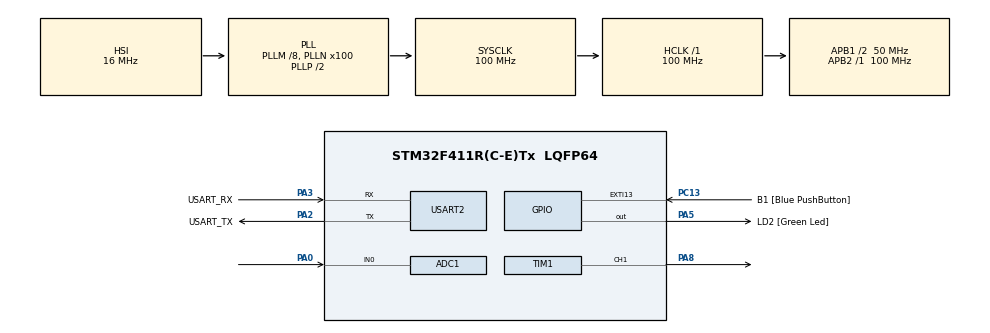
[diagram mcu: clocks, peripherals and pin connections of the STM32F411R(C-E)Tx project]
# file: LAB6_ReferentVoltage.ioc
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ADC1.Channel-0\#ChannelRegularConversion=ADC_CHANNEL_0
ADC1.ExternalTrigConv=ADC_EXTERNALTRIGCONV_T3_TRGO
ADC1.NbrOfConversionFlag=1
ADC1.Rank-0\#ChannelRegularConversion=1
ADC1.SamplingTime-0\#ChannelRegularConversion=ADC_SAMPLETIME_480CYCLES
ADC1.master=1
Mcu.Family=STM32F4
Mcu.Name=STM32F411R(C-E)Tx
Mcu.Package=LQFP64
NVIC.ADC_IRQn=true\:0\:0\:false\:false\:true\:true\:true
NVIC.PriorityGroup=NVIC_PRIORITYGROUP_0
NVIC.TIM1_TRG_COM_TIM11_IRQn=true\:0\:0\:false\:false\:true\:true\:true
PA0-WKUP.Signal=ADCx_IN0
PA13.GPIO_Label=TMS
PA13.Mode=Serial_Wire
PA13.Signal=SYS_JTMS-SWDIO
PA14.GPIO_Label=TCK
PA14.Mode=Serial_Wire
PA14.Signal=SYS_JTCK-SWCLK
PA2.GPIO_Label=USART_TX
PA2.Mode=Asynchronous
PA2.Signal=USART2_TX
PA3.GPIO_Label=USART_RX
PA3.Mode=Asynchronous
PA3.Signal=USART2_RX
PA5.GPIO_Label=LD2 [Green Led]
PA5.Signal=GPIO_Output
PA8.Signal=S_TIM1_CH1
PB3.GPIO_Label=SWO
PB3.Signal=SYS_JTDO-SWO
PC13-ANTI_TAMP.GPIO_Label=B1 [Blue PushButton]
PC13-ANTI_TAMP.GPIO_ModeDefaultEXTI=GPIO_MODE_IT_FALLING
PC13-ANTI_TAMP.Signal=GPXTI13
PC14-OSC32_IN.Mode=LSE-External-Oscillator
PC14-OSC32_IN.Signal=RCC_OSC32_IN
PC15-OSC32_OUT.Mode=LSE-External-Oscillator
PC15-OSC32_OUT.Signal=RCC_OSC32_OUT
PH0\ -\ OSC_IN.Mode=HSE-External-Clock-Source
PH0\ -\ OSC_IN.Signal=RCC_OSC_IN
PH1\ -\ OSC_OUT.Mode=HSE-External-Clock-Source
PH1\ -\ OSC_OUT.Signal=RCC_OSC_OUT
ProjectManager.HeapSize=0x200
ProjectManager.StackSize=0x400
ProjectManager.TargetToolchain=STM32CubeIDE
RCC.48MHZClocksFreq_Value=50000000
RCC.AHBFreq_Value=100000000
RCC.APB1CLKDivider=RCC_HCLK_DIV2
RCC.APB1Freq_Value=50000000
RCC.APB1TimFreq_Value=100000000
RCC.APB2Freq_Value=100000000
RCC.APB2TimFreq_Value=100000000
RCC.CortexFreq_Value=100000000
RCC.FLatency-AdvancedSettings=FLASH_LATENCY_3
RCC.HCLKFreq_Value=100000000
RCC.HSE_VALUE=8000000
RCC.HSI_VALUE=16000000
RCC.PLLM=8
RCC.PLLN=100
RCC.SYSCLKFreq_VALUE=100000000
RCC.SYSCLKSource=RCC_SYSCLKSOURCE_PLLCLK
RCC.VCOOutputFreq_Value=200000000
SH.ADCx_IN0.0=ADC1_IN0,IN0
SH.S_TIM1_CH1.0=TIM1_CH1,PWM Generation1 CH1
TIM1.Channel-PWM\ Generation1\ CH1=TIM_CHANNEL_1
TIM1.Period=10000
TIM1.Pulse-PWM\ Generation1\ CH1=0
TIM11.Prescaler=99
TIM3.Period=1000
TIM3.Prescaler=99
TIM3.TIM_MasterOutputTrigger=TIM_TRGO_UPDATE
USART2.VirtualMode=VM_ASYNC
VP_TIM11_VS_ClockSourceINT.Mode=Enable_Timer
VP_TIM1_VS_ClockSourceINT.Mode=Internal
VP_TIM3_VS_ClockSourceINT.Mode=Internal
board=NUCLEO-F411RE

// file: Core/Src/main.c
/* USER CODE BEGIN Header */
/**
 ******************************************************************************
 * @file           : main.c
 * @brief          : Main program body
 ******************************************************************************
 * @attention
 *
 * <h2><center>&copy; Copyright (c) 2021 STMicroelectronics.
 * All rights reserved.</center></h2>
 *
 * This software component is licensed by ST under BSD 3-Clause license,
 * the "License"; You may not use this file except in compliance with the
 * License. You may obtain a copy of the License at:
 *                        opensource.org/licenses/BSD-3-Clause
 *
 ******************************************************************************
 */
/* USER CODE END Header */
#include "main.h"

ADC_HandleTypeDef hadc1;

TIM_HandleTypeDef htim1;
TIM_HandleTypeDef htim3;
TIM_HandleTypeDef htim11;

UART_HandleTypeDef huart2;

/* USER CODE BEGIN PV */

uint8_t ADCUpdateFlag = 0;
//Store ADC Value
float ADCFeedBack = 0;
//uint16_t ADCFeedBack = 0;

uint16_t PWMOut = 3000;

uint64_t _micro = 0;
uint64_t TimeOutputLoop = 0;

//For Control
//int voltageControl = 0;
//int summationError = 0;
//int previousError = 0;
//float referentVoltage = 40960/33 ;// (4096/3300)1000 for 1000 mV in ADC.read() unit
float referentVoltage = 4095/3.3; //1Voltage
float voltageControl,summationError,previousError = 0; // u,s,p
float P=1,I=0,D=0;

/* USER CODE END PV */

void SystemClock_Config(void);
static void MX_GPIO_Init(void);
static void MX_USART2_UART_Init(void);
static void MX_ADC1_Init(void);
static void MX_TIM1_Init(void);
static void MX_TIM3_Init(void);
static void MX_TIM11_Init(void);
/* USER CODE BEGIN PFP */
uint64_t micros();
/* USER CODE END PFP */

int main(void)
{

  /* MCU Configuration--------------------------------------------------------*/

  /* Reset of all peripherals, Initializes the Flash interface and the Systick. */
  HAL_Init();

  /* Configure the system clock */
  SystemClock_Config();

  /* Initialize all configured peripherals */
  MX_GPIO_Init();
  MX_USART2_UART_Init();
  MX_ADC1_Init();
  MX_TIM1_Init();
  MX_TIM3_Init();
  MX_TIM11_Init();
  /* USER CODE BEGIN 2 */
	//ADC START
	HAL_ADC_Start_IT(&hadc1);
	HAL_TIM_Base_Start(&htim3);
	// start pwm
	HAL_TIM_Base_Start(&htim1);
	HAL_TIM_PWM_Start(&htim1, TIM_CHANNEL_1);
	// start micros
	HAL_TIM_Base_Start_IT(&htim11);

  /* USER CODE END 2 */

  /* Infinite loop */
	while (1)
	{

    /* USER CODE BEGIN 3 */

		//1 Khz Loop
		if (micros() - TimeOutputLoop >= 1000)//uS
		{
			TimeOutputLoop = micros();
			control_interrupt();
			// #001
			__HAL_TIM_SET_COMPARE(&htim1, TIM_CHANNEL_1, PWMOut);

		}

		if (ADCUpdateFlag)
		{
			ADCUpdateFlag = 0;
			//#002
		}

	}
  /* USER CODE END 3 */
}

void SystemClock_Config(void)
{
  RCC_OscInitTypeDef RCC_OscInitStruct = {0};
  RCC_ClkInitTypeDef RCC_ClkInitStruct = {0};

  /** Configure the main internal regulator output voltage
  */
  __HAL_RCC_PWR_CLK_ENABLE();
  __HAL_PWR_VOLTAGESCALING_CONFIG(PWR_REGULATOR_VOLTAGE_SCALE1);
  /** Initializes the RCC Oscillators according to the specified parameters
  * in the RCC_OscInitTypeDef structure.
  */
  RCC_OscInitStruct.OscillatorType = RCC_OSCILLATORTYPE_HSI;
  RCC_OscInitStruct.HSIState = RCC_HSI_ON;
  RCC_OscInitStruct.HSICalibrationValue = RCC_HSICALIBRATION_DEFAULT;
  RCC_OscInitStruct.PLL.PLLState = RCC_PLL_ON;
  RCC_OscInitStruct.PLL.PLLSource = RCC_PLLSOURCE_HSI;
  RCC_OscInitStruct.PLL.PLLM = 8;
  RCC_OscInitStruct.PLL.PLLN = 100;
  RCC_OscInitStruct.PLL.PLLP = RCC_PLLP_DIV2;
  RCC_OscInitStruct.PLL.PLLQ = 4;
  if (HAL_RCC_OscConfig(&RCC_OscInitStruct) != HAL_OK)
  {
    Error_Handler();
  }
  /** Initializes the CPU, AHB and APB buses clocks
  */
  RCC_ClkInitStruct.ClockType = RCC_CLOCKTYPE_HCLK|RCC_CLOCKTYPE_SYSCLK
                              |RCC_CLOCKTYPE_PCLK1|RCC_CLOCKTYPE_PCLK2;
  RCC_ClkInitStruct.SYSCLKSource = RCC_SYSCLKSOURCE_PLLCLK;
  RCC_ClkInitStruct.AHBCLKDivider = RCC_SYSCLK_DIV1;
  RCC_ClkInitStruct.APB1CLKDivider = RCC_HCLK_DIV2;
  RCC_ClkInitStruct.APB2CLKDivider = RCC_HCLK_DIV1;

  if (HAL_RCC_ClockConfig(&RCC_ClkInitStruct, FLASH_LATENCY_3) != HAL_OK)
  {
    Error_Handler();
  }
}

static void MX_ADC1_Init(void)
{

  ADC_ChannelConfTypeDef sConfig = {0};

  /** Configure the global features of the ADC (Clock, Resolution, Data Alignment and number of conversion)
  */
  hadc1.Instance = ADC1;
  hadc1.Init.ClockPrescaler = ADC_CLOCK_SYNC_PCLK_DIV4;
  hadc1.Init.Resolution = ADC_RESOLUTION_12B;
  hadc1.Init.ScanConvMode = DISABLE;
  hadc1.Init.ContinuousConvMode = DISABLE;
  hadc1.Init.DiscontinuousConvMode = DISABLE;
  hadc1.Init.ExternalTrigConvEdge = ADC_EXTERNALTRIGCONVEDGE_RISING;
  hadc1.Init.ExternalTrigConv = ADC_EXTERNALTRIGCONV_T3_TRGO;
  hadc1.Init.DataAlign = ADC_DATAALIGN_RIGHT;
  hadc1.Init.NbrOfConversion = 1;
  hadc1.Init.DMAContinuousRequests = DISABLE;
  hadc1.Init.EOCSelection = ADC_EOC_SINGLE_CONV;
  if (HAL_ADC_Init(&hadc1) != HAL_OK)
  {
    Error_Handler();
  }
  /** Configure for the selected ADC regular channel its corresponding rank in the sequencer and its sample time.
  */
  sConfig.Channel = ADC_CHANNEL_0;
  sConfig.Rank = 1;
  sConfig.SamplingTime = ADC_SAMPLETIME_480CYCLES;
  if (HAL_ADC_ConfigChannel(&hadc1, &sConfig) != HAL_OK)
  {
    Error_Handler();
  }

}

static void MX_TIM1_Init(void)
{

  TIM_ClockConfigTypeDef sClockSourceConfig = {0};
  TIM_MasterConfigTypeDef sMasterConfig = {0};
  TIM_OC_InitTypeDef sConfigOC = {0};
  TIM_BreakDeadTimeConfigTypeDef sBreakDeadTimeConfig = {0};

  htim1.Instance = TIM1;
  htim1.Init.Prescaler = 0;
  htim1.Init.CounterMode = TIM_COUNTERMODE_UP;
  htim1.Init.Period = 10000;
  htim1.Init.ClockDivision = TIM_CLOCKDIVISION_DIV1;
  htim1.Init.RepetitionCounter = 0;
  htim1.Init.AutoReloadPreload = TIM_AUTORELOAD_PRELOAD_DISABLE;
  if (HAL_TIM_Base_Init(&htim1) != HAL_OK)
  {
    Error_Handler();
  }
  sClockSourceConfig.ClockSource = TIM_CLOCKSOURCE_INTERNAL;
  if (HAL_TIM_ConfigClockSource(&htim1, &sClockSourceConfig) != HAL_OK)
  {
    Error_Handler();
  }
  if (HAL_TIM_PWM_Init(&htim1) != HAL_OK)
  {
    Error_Handler();
  }
  sMasterConfig.MasterOutputTrigger = TIM_TRGO_RESET;
  sMasterConfig.MasterSlaveMode = TIM_MASTERSLAVEMODE_DISABLE;
  if (HAL_TIMEx_MasterConfigSynchronization(&htim1, &sMasterConfig) != HAL_OK)
  {
    Error_Handler();
  }
  sConfigOC.OCMode = TIM_OCMODE_PWM1;
  sConfigOC.Pulse = 0;
  sConfigOC.OCPolarity = TIM_OCPOLARITY_HIGH;
  sConfigOC.OCNPolarity = TIM_OCNPOLARITY_HIGH;
  sConfigOC.OCFastMode = TIM_OCFAST_DISABLE;
  sConfigOC.OCIdleState = TIM_OCIDLESTATE_RESET;
  sConfigOC.OCNIdleState = TIM_OCNIDLESTATE_RESET;
  if (HAL_TIM_PWM_ConfigChannel(&htim1, &sConfigOC, TIM_CHANNEL_1) != HAL_OK)
  {
    Error_Handler();
  }
  sBreakDeadTimeConfig.OffStateRunMode = TIM_OSSR_DISABLE;
  sBreakDeadTimeConfig.OffStateIDLEMode = TIM_OSSI_DISABLE;
  sBreakDeadTimeConfig.LockLevel = TIM_LOCKLEVEL_OFF;
  sBreakDeadTimeConfig.DeadTime = 0;
  sBreakDeadTimeConfig.BreakState = TIM_BREAK_DISABLE;
  sBreakDeadTimeConfig.BreakPolarity = TIM_BREAKPOLARITY_HIGH;
  sBreakDeadTimeConfig.AutomaticOutput = TIM_AUTOMATICOUTPUT_DISABLE;
  if (HAL_TIMEx_ConfigBreakDeadTime(&htim1, &sBreakDeadTimeConfig) != HAL_OK)
  {
    Error_Handler();
  }
  HAL_TIM_MspPostInit(&htim1);

}

static void MX_TIM3_Init(void)
{

  TIM_ClockConfigTypeDef sClockSourceConfig = {0};
  TIM_MasterConfigTypeDef sMasterConfig = {0};

  htim3.Instance = TIM3;
  htim3.Init.Prescaler = 99;
  htim3.Init.CounterMode = TIM_COUNTERMODE_UP;
  htim3.Init.Period = 1000;
  htim3.Init.ClockDivision = TIM_CLOCKDIVISION_DIV1;
  htim3.Init.AutoReloadPreload = TIM_AUTORELOAD_PRELOAD_DISABLE;
  if (HAL_TIM_Base_Init(&htim3) != HAL_OK)
  {
    Error_Handler();
  }
  sClockSourceConfig.ClockSource = TIM_CLOCKSOURCE_INTERNAL;
  if (HAL_TIM_ConfigClockSource(&htim3, &sClockSourceConfig) != HAL_OK)
  {
    Error_Handler();
  }
  sMasterConfig.MasterOutputTrigger = TIM_TRGO_UPDATE;
  sMasterConfig.MasterSlaveMode = TIM_MASTERSLAVEMODE_DISABLE;
  if (HAL_TIMEx_MasterConfigSynchronization(&htim3, &sMasterConfig) != HAL_OK)
  {
    Error_Handler();
  }

}

static void MX_TIM11_Init(void)
{

  htim11.Instance = TIM11;
  htim11.Init.Prescaler = 99;
  htim11.Init.CounterMode = TIM_COUNTERMODE_UP;
  htim11.Init.Period = 65535;
  htim11.Init.ClockDivision = TIM_CLOCKDIVISION_DIV1;
  htim11.Init.AutoReloadPreload = TIM_AUTORELOAD_PRELOAD_DISABLE;
  if (HAL_TIM_Base_Init(&htim11) != HAL_OK)
  {
    Error_Handler();
  }

}

static void MX_USART2_UART_Init(void)
{

  huart2.Instance = USART2;
  huart2.Init.BaudRate = 115200;
  huart2.Init.WordLength = UART_WORDLENGTH_8B;
  huart2.Init.StopBits = UART_STOPBITS_1;
  huart2.Init.Parity = UART_PARITY_NONE;
  huart2.Init.Mode = UART_MODE_TX_RX;
  huart2.Init.HwFlowCtl = UART_HWCONTROL_NONE;
  huart2.Init.OverSampling = UART_OVERSAMPLING_16;
  if (HAL_UART_Init(&huart2) != HAL_OK)
  {
    Error_Handler();
  }

}

static void MX_GPIO_Init(void)
{
  GPIO_InitTypeDef GPIO_InitStruct = {0};

  /* GPIO Ports Clock Enable */
  __HAL_RCC_GPIOC_CLK_ENABLE();
  __HAL_RCC_GPIOH_CLK_ENABLE();
  __HAL_RCC_GPIOA_CLK_ENABLE();
  __HAL_RCC_GPIOB_CLK_ENABLE();

  /*Configure GPIO pin Output Level */
  HAL_GPIO_WritePin(LD2_GPIO_Port, LD2_Pin, GPIO_PIN_RESET);

  /*Configure GPIO pin : B1_Pin */
  GPIO_InitStruct.Pin = B1_Pin;
  GPIO_InitStruct.Mode = GPIO_MODE_IT_FALLING;
  GPIO_InitStruct.Pull = GPIO_NOPULL;
  HAL_GPIO_Init(B1_GPIO_Port, &GPIO_InitStruct);

  /*Configure GPIO pin : LD2_Pin */
  GPIO_InitStruct.Pin = LD2_Pin;
  GPIO_InitStruct.Mode = GPIO_MODE_OUTPUT_PP;
  GPIO_InitStruct.Pull = GPIO_NOPULL;
  GPIO_InitStruct.Speed = GPIO_SPEED_FREQ_LOW;
  HAL_GPIO_Init(LD2_GPIO_Port, &GPIO_InitStruct);

}

/* USER CODE BEGIN 4 */

//Coltrol Voltage with PID type Positional Algorithm
void control_interrupt()
{
	//static sensor.read();
	static float error = 0;
	error = referentVoltage - ADCFeedBack;
	summationError = summationError + error;
	voltageControl = (P*error)+(I*summationError)+(D*(error-previousError));
	//motor.drive(voltageControl)
	//calculate output compare for change PWMOut

	//Counter Period = 10000
	//PWMOut = (voltageControl/referentVoltage)*10000;
	PWMOut = PWMOut + voltageControl;

	previousError = error;
}

//ADC callback
void HAL_ADC_ConvCpltCallback(ADC_HandleTypeDef *hadc)
{
//	ADCFeedBack = (3.3*HAL_ADC_GetValue(&hadc1))/4096.0; //mV
	ADCFeedBack = HAL_ADC_GetValue(&hadc1);
	ADCUpdateFlag = 1;
}

//Interrupt when periodElapsed
void HAL_TIM_PeriodElapsedCallback(TIM_HandleTypeDef *htim)
{
	if (htim == &htim11)
	{
		_micro += 65535;
	}
}

//For : What time is it?
__inline__ uint64_t micros()
{
	return _micro + htim11.Instance->CNT; //Tim11's Counter
}
/* USER CODE END 4 */

void Error_Handler(void)
{
	__disable_irq();
	while (1)
	{
	}
}

/************************ (C) COPYRIGHT STMicroelectronics *****END OF FILE****/
